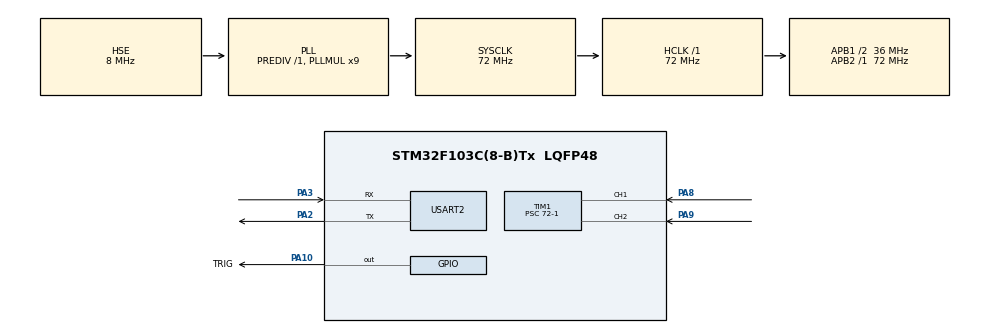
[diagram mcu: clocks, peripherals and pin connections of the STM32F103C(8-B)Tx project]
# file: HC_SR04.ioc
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Mcu.Family=STM32F1
Mcu.Name=STM32F103C(8-B)Tx
Mcu.Package=LQFP48
NVIC.PriorityGroup=NVIC_PRIORITYGROUP_4
NVIC.TIM1_CC_IRQn=true\:0\:0\:false\:false\:true\:true\:true\:true
PA10.GPIO_Label=TRIG
PA10.GPIO_Speed=GPIO_SPEED_FREQ_HIGH
PA10.Signal=GPIO_Output
PA13.Mode=Serial_Wire
PA13.Signal=SYS_JTMS-SWDIO
PA14.Mode=Serial_Wire
PA14.Signal=SYS_JTCK-SWCLK
PA2.Mode=Asynchronous
PA2.Signal=USART2_TX
PA3.Mode=Asynchronous
PA3.Signal=USART2_RX
PA8.Signal=S_TIM1_CH1
PA9.Signal=S_TIM1_CH2
PD0-OSC_IN.Mode=HSE-External-Oscillator
PD0-OSC_IN.Signal=RCC_OSC_IN
PD1-OSC_OUT.Mode=HSE-External-Oscillator
PD1-OSC_OUT.Signal=RCC_OSC_OUT
ProjectManager.HeapSize=0x200
ProjectManager.StackSize=0x400
ProjectManager.TargetToolchain=STM32CubeIDE
RCC.AHBFreq_Value=72000000
RCC.APB1CLKDivider=RCC_HCLK_DIV2
RCC.APB1Freq_Value=36000000
RCC.APB1TimFreq_Value=72000000
RCC.APB2Freq_Value=72000000
RCC.APB2TimFreq_Value=72000000
RCC.HCLKFreq_Value=72000000
RCC.PLLMUL=RCC_PLL_MUL9
RCC.PLLSourceVirtual=RCC_PLLSOURCE_HSE
RCC.SYSCLKFreq_VALUE=72000000
RCC.SYSCLKSource=RCC_SYSCLKSOURCE_PLLCLK
RCC.USBFreq_Value=72000000
SH.S_TIM1_CH1.0=TIM1_CH1,Input_Capture1_from_TI1
SH.S_TIM1_CH2.0=TIM1_CH2,Input_Capture2_from_TI2
TIM1.Channel-Input_Capture1_from_TI1=TIM_CHANNEL_1
TIM1.Channel-Input_Capture2_from_TI2=TIM_CHANNEL_2
TIM1.ICPolarity_CH2=TIM_INPUTCHANNELPOLARITY_FALLING
TIM1.Prescaler=72-1
TIM2.Prescaler=72-1
USART2.VirtualMode=VM_ASYNC
VP_TIM1_VS_ClockSourceINT.Mode=Internal
VP_TIM2_VS_ClockSourceINT.Mode=Internal
board=custom

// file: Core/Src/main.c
/* USER CODE BEGIN Header */
/**
 ******************************************************************************
 * @file           : main.c
 * @brief          : Main program body
 ******************************************************************************
 * @attention
 *
 * Copyright (c) 2023 STMicroelectronics.
 * All rights reserved.
 *
 * This software is licensed under terms that can be found in the LICENSE file
 * in the root directory of this software component.
 * If no LICENSE file comes with this software, it is provided AS-IS.
 *
 ******************************************************************************
 */
/* USER CODE END Header */
#include "main.h"
#include "stdio.h"

/* USER CODE BEGIN PM */
#define	TIMCLOCK 72000000
#define PRESCALER 72
/* USER CODE END PM */

TIM_HandleTypeDef htim1;
TIM_HandleTypeDef htim2;

UART_HandleTypeDef huart2;

/* USER CODE BEGIN PV */

uint32_t IC_Val1 = 0;
uint32_t IC_Val2 = 0;
double diff = 0;
double dist = 0;
double uWidth = 0;

uint8_t buff[32];

/* USER CODE END PV */

void SystemClock_Config(void);
static void MX_GPIO_Init(void);
static void MX_TIM2_Init(void);
static void MX_TIM1_Init(void);
static void MX_USART2_UART_Init(void);

/* USER CODE BEGIN 0 */
void delay_us(uint16_t us) {
	// set the counter value 0
	__HAL_TIM_SET_COUNTER(&htim2, 0);

	// wait for the counter to reach the us input in the parameter
	while (__HAL_TIM_GET_COUNTER(&htim2) < us)
		;
}

int __io_putchar(int ch) {
	(void) HAL_UART_Transmit(&huart2, (uint8_t*) &ch, 1, 100);
	return ch;
}

void HAL_TIM_IC_CaptureCallback(TIM_HandleTypeDef *htim) {

	if (htim->Channel == HAL_TIM_ACTIVE_CHANNEL_1) {

		IC_Val1 = HAL_TIM_ReadCapturedValue(htim, TIM_CHANNEL_1);

	} else if (htim->Channel == HAL_TIM_ACTIVE_CHANNEL_2) {

		IC_Val2 = HAL_TIM_ReadCapturedValue(htim, TIM_CHANNEL_2);

		if (IC_Val2 >= IC_Val1) {
			diff = IC_Val2 - IC_Val1;
		} else if (IC_Val2 < IC_Val1) {
			diff = 0xffff - IC_Val1 + IC_Val2;
		}
	}
}
/* USER CODE END 0 */

int main(void) {
	/* USER CODE BEGIN 1 */
	double refClock = (float) TIMCLOCK / (float) PRESCALER;

	double mFactor = 1000000 / refClock;
	/* USER CODE END 1 */

	/* MCU Configuration--------------------------------------------------------*/

	/* Reset of all peripherals, Initializes the Flash interface and the Systick. */
	HAL_Init();

	/* Configure the system clock */
	SystemClock_Config();

	/* Initialize all configured peripherals */
	MX_GPIO_Init();
	MX_TIM2_Init();
	MX_TIM1_Init();
	MX_USART2_UART_Init();
	/* USER CODE BEGIN 2 */

	HAL_TIM_PWM_Start(&htim2, TIM_CHANNEL_1);
	HAL_TIM_IC_Start_IT(&htim1, TIM_CHANNEL_1);
	HAL_TIM_IC_Start_IT(&htim1, TIM_CHANNEL_2);
	/* USER CODE END 2 */

	/* Infinite loop */
	/* USER CODE BEGIN WHILE */
	while (1) {

		HAL_GPIO_WritePin(TRIG_GPIO_Port, TRIG_Pin, GPIO_PIN_SET);
		delay_us(10);
		HAL_GPIO_WritePin(TRIG_GPIO_Port, TRIG_Pin, GPIO_PIN_RESET);
		delay_us(990);
		HAL_Delay(24);

		uWidth = diff * mFactor;
		dist = uWidth / 58;

		//sprintf(buff,"dist: %f \r\n",dist);
		//HAL_UART_Transmit(&huart2,buff,sizeof(buff),500);

		printf("distance: %f \r\n", dist);
		/* USER CODE END WHILE */

	}
}

void SystemClock_Config(void) {
	RCC_OscInitTypeDef RCC_OscInitStruct = { 0 };
	RCC_ClkInitTypeDef RCC_ClkInitStruct = { 0 };

	/** Initializes the RCC Oscillators according to the specified parameters
	 * in the RCC_OscInitTypeDef structure.
	 */
	RCC_OscInitStruct.OscillatorType = RCC_OSCILLATORTYPE_HSE;
	RCC_OscInitStruct.HSEState = RCC_HSE_ON;
	RCC_OscInitStruct.HSEPredivValue = RCC_HSE_PREDIV_DIV1;
	RCC_OscInitStruct.HSIState = RCC_HSI_ON;
	RCC_OscInitStruct.PLL.PLLState = RCC_PLL_ON;
	RCC_OscInitStruct.PLL.PLLSource = RCC_PLLSOURCE_HSE;
	RCC_OscInitStruct.PLL.PLLMUL = RCC_PLL_MUL9;
	if (HAL_RCC_OscConfig(&RCC_OscInitStruct) != HAL_OK) {
		Error_Handler();
	}

	/** Initializes the CPU, AHB and APB buses clocks
	 */
	RCC_ClkInitStruct.ClockType = RCC_CLOCKTYPE_HCLK | RCC_CLOCKTYPE_SYSCLK
			| RCC_CLOCKTYPE_PCLK1 | RCC_CLOCKTYPE_PCLK2;
	RCC_ClkInitStruct.SYSCLKSource = RCC_SYSCLKSOURCE_PLLCLK;
	RCC_ClkInitStruct.AHBCLKDivider = RCC_SYSCLK_DIV1;
	RCC_ClkInitStruct.APB1CLKDivider = RCC_HCLK_DIV2;
	RCC_ClkInitStruct.APB2CLKDivider = RCC_HCLK_DIV1;

	if (HAL_RCC_ClockConfig(&RCC_ClkInitStruct, FLASH_LATENCY_2) != HAL_OK) {
		Error_Handler();
	}
}

static void MX_TIM1_Init(void) {

	TIM_ClockConfigTypeDef sClockSourceConfig = { 0 };
	TIM_MasterConfigTypeDef sMasterConfig = { 0 };
	TIM_IC_InitTypeDef sConfigIC = { 0 };

	htim1.Instance = TIM1;
	htim1.Init.Prescaler = 72 - 1;
	htim1.Init.CounterMode = TIM_COUNTERMODE_UP;
	htim1.Init.Period = 65535;
	htim1.Init.ClockDivision = TIM_CLOCKDIVISION_DIV1;
	htim1.Init.RepetitionCounter = 0;
	htim1.Init.AutoReloadPreload = TIM_AUTORELOAD_PRELOAD_DISABLE;
	if (HAL_TIM_Base_Init(&htim1) != HAL_OK) {
		Error_Handler();
	}
	sClockSourceConfig.ClockSource = TIM_CLOCKSOURCE_INTERNAL;
	if (HAL_TIM_ConfigClockSource(&htim1, &sClockSourceConfig) != HAL_OK) {
		Error_Handler();
	}
	if (HAL_TIM_IC_Init(&htim1) != HAL_OK) {
		Error_Handler();
	}
	sMasterConfig.MasterOutputTrigger = TIM_TRGO_RESET;
	sMasterConfig.MasterSlaveMode = TIM_MASTERSLAVEMODE_DISABLE;
	if (HAL_TIMEx_MasterConfigSynchronization(&htim1, &sMasterConfig)
			!= HAL_OK) {
		Error_Handler();
	}
	sConfigIC.ICPolarity = TIM_INPUTCHANNELPOLARITY_RISING;
	sConfigIC.ICSelection = TIM_ICSELECTION_DIRECTTI;
	sConfigIC.ICPrescaler = TIM_ICPSC_DIV1;
	sConfigIC.ICFilter = 0;
	if (HAL_TIM_IC_ConfigChannel(&htim1, &sConfigIC, TIM_CHANNEL_1) != HAL_OK) {
		Error_Handler();
	}
	sConfigIC.ICPolarity = TIM_INPUTCHANNELPOLARITY_FALLING;
	if (HAL_TIM_IC_ConfigChannel(&htim1, &sConfigIC, TIM_CHANNEL_2) != HAL_OK) {
		Error_Handler();
	}

}

static void MX_TIM2_Init(void) {

	TIM_ClockConfigTypeDef sClockSourceConfig = { 0 };
	TIM_MasterConfigTypeDef sMasterConfig = { 0 };

	htim2.Instance = TIM2;
	htim2.Init.Prescaler = 72 - 1;
	htim2.Init.CounterMode = TIM_COUNTERMODE_UP;
	htim2.Init.Period = 65535;
	htim2.Init.ClockDivision = TIM_CLOCKDIVISION_DIV1;
	htim2.Init.AutoReloadPreload = TIM_AUTORELOAD_PRELOAD_DISABLE;
	if (HAL_TIM_Base_Init(&htim2) != HAL_OK) {
		Error_Handler();
	}
	sClockSourceConfig.ClockSource = TIM_CLOCKSOURCE_INTERNAL;
	if (HAL_TIM_ConfigClockSource(&htim2, &sClockSourceConfig) != HAL_OK) {
		Error_Handler();
	}
	sMasterConfig.MasterOutputTrigger = TIM_TRGO_RESET;
	sMasterConfig.MasterSlaveMode = TIM_MASTERSLAVEMODE_DISABLE;
	if (HAL_TIMEx_MasterConfigSynchronization(&htim2, &sMasterConfig)
			!= HAL_OK) {
		Error_Handler();
	}

}

static void MX_USART2_UART_Init(void) {

	huart2.Instance = USART2;
	huart2.Init.BaudRate = 115200;
	huart2.Init.WordLength = UART_WORDLENGTH_8B;
	huart2.Init.StopBits = UART_STOPBITS_1;
	huart2.Init.Parity = UART_PARITY_NONE;
	huart2.Init.Mode = UART_MODE_TX_RX;
	huart2.Init.HwFlowCtl = UART_HWCONTROL_NONE;
	huart2.Init.OverSampling = UART_OVERSAMPLING_16;
	if (HAL_UART_Init(&huart2) != HAL_OK) {
		Error_Handler();
	}

}

static void MX_GPIO_Init(void) {
	GPIO_InitTypeDef GPIO_InitStruct = { 0 };

	/* GPIO Ports Clock Enable */
	__HAL_RCC_GPIOD_CLK_ENABLE();
	__HAL_RCC_GPIOA_CLK_ENABLE();

	/*Configure GPIO pin Output Level */
	HAL_GPIO_WritePin(TRIG_GPIO_Port, TRIG_Pin, GPIO_PIN_RESET);

	/*Configure GPIO pin : TRIG_Pin */
	GPIO_InitStruct.Pin = TRIG_Pin;
	GPIO_InitStruct.Mode = GPIO_MODE_OUTPUT_PP;
	GPIO_InitStruct.Pull = GPIO_NOPULL;
	GPIO_InitStruct.Speed = GPIO_SPEED_FREQ_HIGH;
	HAL_GPIO_Init(TRIG_GPIO_Port, &GPIO_InitStruct);

}

void Error_Handler(void) {
	__disable_irq();
	while (1) {
	}
}
